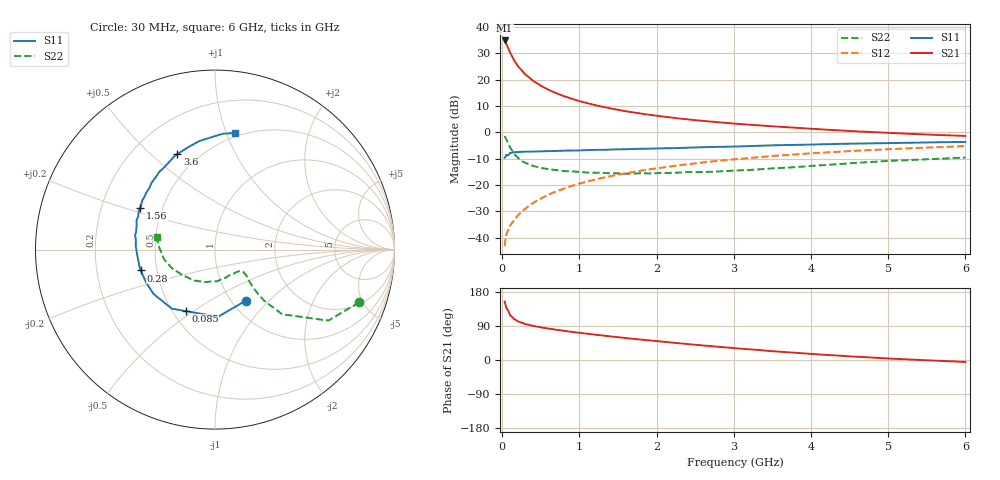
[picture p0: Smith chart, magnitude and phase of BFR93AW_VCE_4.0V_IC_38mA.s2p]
! Infineon Technologies  Discrete & RF Semiconductors
! BFR93AW
! VCE =  4.0 V,  IC =  38 mA
! Common Emitter S-Parameters:  Nov 2015
# GHz  S  MA  R  50
!  f  S11  S21  S12  S22
! GHz  MAG  ANG  MAG  ANG  MAG  ANG  MAG  ANG
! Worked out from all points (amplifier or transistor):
!   206 points, 30 MHz to 6 GHz, reference 50 ohm
!   highest |S21| = 34.9 dB at 30 MHz (marker M1)
!   |S21| within 3 dB of that: start of sweep to 77.65 MHz
!   unconditionally stable (mu >= 1): 395.9 MHz to 2.206 GHz
!   at 200 MHz: K = 0.86, MSG = 28.5 dB, |S12| = -31.6 dB
!   at 1.56 GHz: K = 1.04, MAG = 10.8 dB, |S12| = -15.7 dB
!   at 6 GHz: K = 0.91, MSG = 1.9 dB, |S12| = -5.2 dB
!   S11 on the Smith chart (normalised r, x): 30 MHz: 1.16, -0.74; 85 MHz: 0.58, -0.47; 280 MHz: 0.41, -0.12; 1.56 GHz: 0.37, +0.23; 3.6 GHz: 0.39, +0.61; 6 GHz: 0.47, +1.07
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0.03  0.3323 -58.6  55.83 154.4  0.0069 73.5  0.8557 -20.1
0.05  0.3746 -87.5  49.07 138.6  0.0112 70.6  0.7455 -32.0
0.085  0.3795 -115.6  37.21 126.2  0.0151 65.9  0.5844 -39.4
0.1  0.4075 -126.2  32.92 118.4  0.0169 64.6  0.5197 -43.9
0.15  0.4223 -144.3  23.71 108.3  0.0213 66.5  0.3957 -46.1
0.2  0.4253 -154.2  18.4 102.2  0.0262 66.6  0.3301 -45.7
0.24  0.4259 -160.0  15.62 99.0  0.03 68.4  0.2958 -44.6
0.28  0.4293 -164.3  13.51 96.2  0.0338 70.0  0.2725 -43.5
0.3  0.4316 -166.1  12.56 94.7  0.0357 70.7  0.2627 -42.9
0.4  0.4329 -173.6  9.517 89.8  0.0459 72.2  0.2303 -39.9
0.5  0.4374 -178.9  7.678 85.9  0.0555 73.3  0.2107 -38.8
0.6  0.4422 177.2  6.427 82.7  0.066 73.8  0.2003 -38.2
0.7  0.4436 173.4  5.543 79.7  0.0757 74.4  0.1928 -38.9
0.82  0.4517 169.4  4.758 76.3  0.0882 73.9  0.1836 -40.8
1.04  0.4569 163.0  3.787 70.8  0.1109 72.9  0.1758 -44.6
1.56  0.4777 150.8  2.586 58.8  0.1634 69.2  0.1654 -58.8
2.02  0.4967 140.6  2.052 49.2  0.2096 65.5  0.1692 -74.8
3.1  0.5431 120.0  1.437 29.9  0.317 55.0  0.1903 -109.3
3.6  0.5715 111.6  1.278 21.9  0.3649 49.8  0.2104 -127.7
4.1  0.5921 103.8  1.149 14.7  0.4087 44.3  0.2355 -145.2
5.1  0.6304 90.6  0.967 3.1  0.4873 33.4  0.291 -171.5
6  0.6589 80.4  0.858 -5.1  0.5494 24.1  0.3332 167.6
